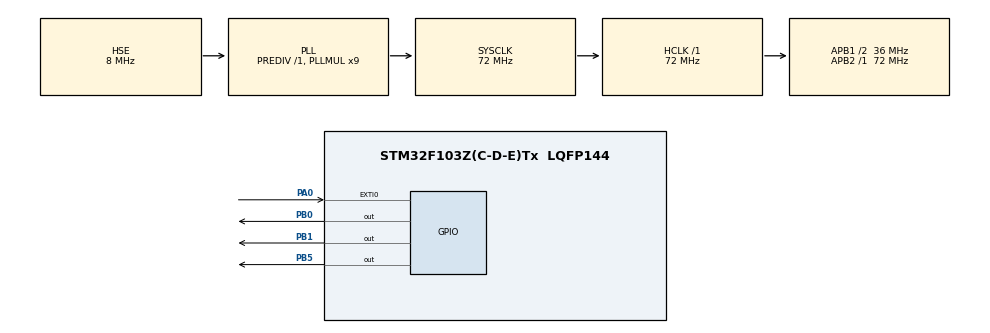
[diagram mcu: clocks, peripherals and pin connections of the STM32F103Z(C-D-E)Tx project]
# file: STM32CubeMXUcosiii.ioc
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Mcu.Family=STM32F1
Mcu.Name=STM32F103Z(C-D-E)Tx
Mcu.Package=LQFP144
NVIC.EXTI0_IRQn=true\:2\:2\:true\:false\:true\:true\:true
NVIC.PriorityGroup=NVIC_PRIORITYGROUP_2
OSC_IN.Mode=HSE-External-Oscillator
OSC_IN.Signal=RCC_OSC_IN
OSC_OUT.Mode=HSE-External-Oscillator
OSC_OUT.Signal=RCC_OSC_OUT
PA0-WKUP.GPIO_ModeDefaultEXTI=GPIO_MODE_IT_RISING
PA0-WKUP.GPIO_PuPd=GPIO_PULLDOWN
PA0-WKUP.Signal=GPXTI0
PB0.GPIO_PuPd=GPIO_PULLUP
PB0.GPIO_Speed=GPIO_SPEED_FREQ_HIGH
PB0.PinState=GPIO_PIN_SET
PB0.Signal=GPIO_Output
PB1.GPIO_PuPd=GPIO_PULLUP
PB1.GPIO_Speed=GPIO_SPEED_FREQ_HIGH
PB1.PinState=GPIO_PIN_SET
PB1.Signal=GPIO_Output
PB5.GPIO_PuPd=GPIO_PULLUP
PB5.GPIO_Speed=GPIO_SPEED_FREQ_HIGH
PB5.PinState=GPIO_PIN_SET
PB5.Signal=GPIO_Output
PC14-OSC32_IN.Mode=LSE-External-Oscillator
PC14-OSC32_IN.Signal=RCC_OSC32_IN
PC15-OSC32_OUT.Mode=LSE-External-Oscillator
PC15-OSC32_OUT.Signal=RCC_OSC32_OUT
ProjectManager.HeapSize=0x200
ProjectManager.StackSize=0x400
ProjectManager.TargetToolchain=MDK-ARM V5.32
RCC.AHBFreq_Value=72000000
RCC.APB1CLKDivider=RCC_HCLK_DIV2
RCC.APB1Freq_Value=36000000
RCC.APB1TimFreq_Value=72000000
RCC.APB2Freq_Value=72000000
RCC.APB2TimFreq_Value=72000000
RCC.HCLKFreq_Value=72000000
RCC.PLLMUL=RCC_PLL_MUL9
RCC.PLLSourceVirtual=RCC_PLLSOURCE_HSE
RCC.SYSCLKFreq_VALUE=72000000
RCC.SYSCLKSource=RCC_SYSCLKSOURCE_PLLCLK
RCC.USBFreq_Value=72000000
VP_SYS_VS_ND.Mode=No_Debug
board=custom

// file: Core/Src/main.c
/* USER CODE BEGIN Header */
/**
  ******************************************************************************
  * @file           : main.c
  * @brief          : Main program body
  ******************************************************************************
  * @attention
  *
  * <h2><center>&copy; Copyright (c) 2022 STMicroelectronics.
  * All rights reserved.</center></h2>
  *
  * This software component is licensed by ST under BSD 3-Clause license,
  * the "License"; You may not use this file except in compliance with the
  * License. You may obtain a copy of the License at:
  *                        opensource.org/licenses/BSD-3-Clause
  *
  ******************************************************************************
  */
/* USER CODE END Header */
#include "main.h"
#include "gpio.h"

/* USER CODE BEGIN Includes */
#include "includes.h"
/* USER CODE END Includes */

/* USER CODE BEGIN PTD */
//创建开始函数任务
#define START_TASK_PRIO 4	// 开始任务优先级
#define START_TASK_STK_SIZE 128	// 开始任务栈大小
OS_TCB starttaskTCB;
CPU_STK START_TASK_STK[START_TASK_STK_SIZE];
void start_task(void *p_args);

//创建LED任务
#define LED_TASK_PRIO 3
#define LED_TASK_STK_SIZE 128
OS_TCB LED0TCB;
CPU_STK LED0_TASK_STK[LED_TASK_STK_SIZE];
void LED_task(void *p_args);

// 创建PWM1输出任务
#define PWM1_TASK_PRIO 2
#define PWM1_TASK_STK_SIZE 128
OS_TCB PWM1_TCB;
CPU_STK PWM1_TASK_STK[PWM1_TASK_STK_SIZE];
void PWM1_task(void *p_args);
/* USER CODE END PTD */

void SystemClock_Config(void);

int main(void)
{
  /* USER CODE BEGIN 1 */
	OS_ERR err;
	CPU_SR_ALLOC();
  /* USER CODE END 1 */

  /* MCU Configuration--------------------------------------------------------*/

  /* Reset of all peripherals, Initializes the Flash interface and the Systick. */
  HAL_Init();

  /* Configure the system clock */
  SystemClock_Config();

  /* Initialize all configured peripherals */
  MX_GPIO_Init();
  /* USER CODE BEGIN 2 */
    //CPU_Init();

//    cpu_clk_freq = BSP_CPU_ClkFreq();                           /* Determine SysTick reference freq.                    */
//    cnts = cpu_clk_freq / (CPU_INT32U)OSCfg_TickRate_Hz;        /* Determine nbr SysTick increments                     */
//    OS_CPU_SysTickInit(cnts);                                   /* Init uC/OS periodic time src (SysTick).              */

//    Mem_Init();                                                 /* Initialize Memory Management Module                  */

//#if OS_CFG_STAT_TASK_EN > 0u
//    OSStatTaskCPUUsageInit(&err);                               /* Compute CPU capacity with no task running            */
//#endif

//    CPU_IntDisMeasMaxCurReset();

	OSInit(&err);
	OS_CRITICAL_ENTER();
	OSTaskCreate((OS_TCB   *)&starttaskTCB,
							 (CPU_CHAR *)"start task",
							(OS_TASK_PTR)start_task,
							 (void     *)0,
							 (OS_PRIO   )START_TASK_PRIO,
							 (CPU_STK  *)&START_TASK_STK[0],
							 (CPU_STK_SIZE)START_TASK_STK_SIZE/10,
							 (CPU_STK_SIZE)START_TASK_STK_SIZE,
							 (OS_MSG_QTY  )0,
							 (OS_TICK     )0,
							 (void       *)0,
							(OS_OPT				)OS_OPT_TASK_STK_CHK|OS_OPT_TASK_STK_CLR,
							(OS_ERR      *)&err);
	OS_CRITICAL_EXIT();
	OSStart(&err);
  /* USER CODE END 2 */

  /* Infinite loop */
  /* USER CODE BEGIN WHILE */
//  while (1)
//  {
    /* USER CODE END WHILE */

    /* USER CODE BEGIN 3 */
//  }
  /* USER CODE END 3 */
}

void SystemClock_Config(void)
{
  RCC_OscInitTypeDef RCC_OscInitStruct = {0};
  RCC_ClkInitTypeDef RCC_ClkInitStruct = {0};

  /** Initializes the RCC Oscillators according to the specified parameters
  * in the RCC_OscInitTypeDef structure.
  */
  RCC_OscInitStruct.OscillatorType = RCC_OSCILLATORTYPE_HSE;
  RCC_OscInitStruct.HSEState = RCC_HSE_ON;
  RCC_OscInitStruct.HSEPredivValue = RCC_HSE_PREDIV_DIV1;
  RCC_OscInitStruct.HSIState = RCC_HSI_ON;
  RCC_OscInitStruct.PLL.PLLState = RCC_PLL_ON;
  RCC_OscInitStruct.PLL.PLLSource = RCC_PLLSOURCE_HSE;
  RCC_OscInitStruct.PLL.PLLMUL = RCC_PLL_MUL9;
  if (HAL_RCC_OscConfig(&RCC_OscInitStruct) != HAL_OK)
  {
    Error_Handler();
  }
  /** Initializes the CPU, AHB and APB buses clocks
  */
  RCC_ClkInitStruct.ClockType = RCC_CLOCKTYPE_HCLK|RCC_CLOCKTYPE_SYSCLK
                              |RCC_CLOCKTYPE_PCLK1|RCC_CLOCKTYPE_PCLK2;
  RCC_ClkInitStruct.SYSCLKSource = RCC_SYSCLKSOURCE_PLLCLK;
  RCC_ClkInitStruct.AHBCLKDivider = RCC_SYSCLK_DIV1;
  RCC_ClkInitStruct.APB1CLKDivider = RCC_HCLK_DIV2;
  RCC_ClkInitStruct.APB2CLKDivider = RCC_HCLK_DIV1;

  if (HAL_RCC_ClockConfig(&RCC_ClkInitStruct, FLASH_LATENCY_2) != HAL_OK)
  {
    Error_Handler();
  }
}

/* USER CODE BEGIN 4 */
void start_task(void *p_args)
{
	OS_ERR err;
	CPU_SR_ALLOC();

	p_args = p_args;
	CPU_Init();

	OS_CRITICAL_ENTER();

	OSTaskCreate((OS_TCB   *)&LED0TCB,
				(CPU_CHAR *)"LED0 task",
				(OS_TASK_PTR)LED_task,
				(void     *)0,
				(OS_PRIO   )LED_TASK_PRIO,
				(CPU_STK  *)&LED0_TASK_STK[0],
				(CPU_STK_SIZE)LED_TASK_STK_SIZE/10,
				(CPU_STK_SIZE)LED_TASK_STK_SIZE,
				(OS_MSG_QTY  )0,
				(OS_TICK     )0,
				(void       *)0,
				(OS_OPT		 )OS_OPT_TASK_STK_CHK|OS_OPT_TASK_STK_CLR,
				(OS_ERR     *)&err);

OSTaskCreate((OS_TCB   *)&PWM1_TCB,
				(CPU_CHAR *)"PWM1 task",
				(OS_TASK_PTR)PWM1_task,
				(void     *)0,
				(OS_PRIO   )PWM1_TASK_PRIO,
				(CPU_STK  *)&PWM1_TASK_STK[0],
				(CPU_STK_SIZE)PWM1_TASK_STK_SIZE/10,
				(CPU_STK_SIZE)PWM1_TASK_STK_SIZE,
				(OS_MSG_QTY  )0,
				(OS_TICK     )0,
				(void       *)0,
				(OS_OPT		 )OS_OPT_TASK_STK_CHK|OS_OPT_TASK_STK_CLR,
				(OS_ERR     *)&err);

	OS_TaskSuspend((OS_TCB*)&starttaskTCB,&err);
	OS_CRITICAL_EXIT();
}

void LED_task(void *p_args)
{
	OS_ERR err;
	p_args=p_args;
	while (1)
	{
		HAL_GPIO_TogglePin(GPIOB,GPIO_PIN_5);
		OSTimeDlyHMSM(0,0,0,500,OS_OPT_TIME_HMSM_NON_STRICT,&err);
	}

}
void PWM1_task(void *p_args)
{
	OS_ERR err;
	p_args=p_args;

	while (1)
	{
		HAL_GPIO_TogglePin(GPIOB,GPIO_PIN_0);
		OSTimeDlyHMSM(0,0,0,200,OS_OPT_TIME_HMSM_NON_STRICT,&err);
	}

}
/* USER CODE END 4 */

void Error_Handler(void)
{
  __disable_irq();
  while (1)
  {
  }
}

/************************ (C) COPYRIGHT STMicroelectronics *****END OF FILE****/
